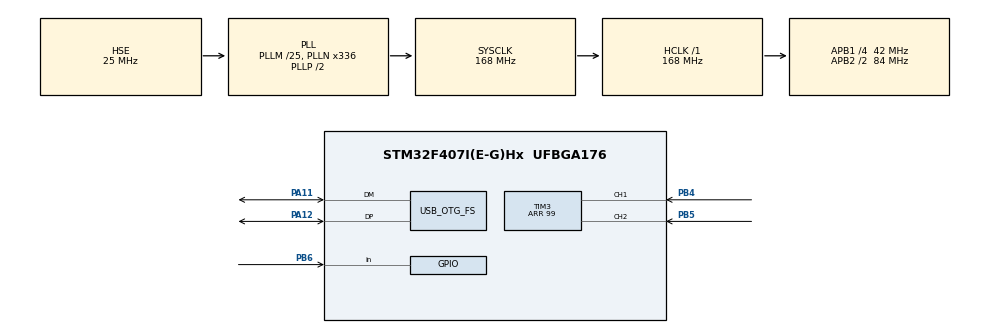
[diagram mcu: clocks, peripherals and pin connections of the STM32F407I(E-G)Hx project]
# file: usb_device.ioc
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Mcu.Family=STM32F4
Mcu.Name=STM32F407I(E-G)Hx
Mcu.Package=UFBGA176
NVIC.OTG_FS_IRQn=true\:0\:0\:false\:false\:true\:false\:true\:true
NVIC.PriorityGroup=NVIC_PRIORITYGROUP_0
NVIC.TIM3_IRQn=true\:0\:0\:false\:false\:true\:true\:true\:true
PA11.Mode=Device_Only
PA11.Signal=USB_OTG_FS_DM
PA12.Mode=Device_Only
PA12.Signal=USB_OTG_FS_DP
PA13.Mode=Serial_Wire
PA13.Signal=SYS_JTMS-SWDIO
PA14.Mode=Serial_Wire
PA14.Signal=SYS_JTCK-SWCLK
PB4.Signal=S_TIM3_CH1
PB5.Signal=S_TIM3_CH2
PB6.GPIO_PuPd=GPIO_PULLDOWN
PB6.Signal=GPIO_Input
PH0-OSC_IN.Mode=HSE-External-Oscillator
PH0-OSC_IN.Signal=RCC_OSC_IN
PH1-OSC_OUT.Mode=HSE-External-Oscillator
PH1-OSC_OUT.Signal=RCC_OSC_OUT
ProjectManager.HeapSize=0x200
ProjectManager.StackSize=0x400
ProjectManager.TargetToolchain=STM32CubeIDE
RCC.48MHZClocksFreq_Value=48000000
RCC.AHBFreq_Value=168000000
RCC.APB1CLKDivider=RCC_HCLK_DIV4
RCC.APB1Freq_Value=42000000
RCC.APB1TimFreq_Value=84000000
RCC.APB2CLKDivider=RCC_HCLK_DIV2
RCC.APB2Freq_Value=84000000
RCC.APB2TimFreq_Value=168000000
RCC.CortexFreq_Value=168000000
RCC.FLatency-AdvancedSettings=FLASH_LATENCY_5
RCC.HCLKFreq_Value=168000000
RCC.HSE_VALUE=25000000
RCC.HSI_VALUE=16000000
RCC.LSE_VALUE=32768
RCC.PLLM=25
RCC.PLLN=336
RCC.PLLQ=7
RCC.PWR_Regulator_Voltage_Scale-AdvancedSettings=PWR_REGULATOR_VOLTAGE_SCALE1
RCC.SYSCLKFreq_VALUE=168000000
RCC.SYSCLKSource=RCC_SYSCLKSOURCE_PLLCLK
RCC.VCOOutputFreq_Value=336000000
SH.S_TIM3_CH1.0=TIM3_CH1,Encoder_Interface
SH.S_TIM3_CH2.0=TIM3_CH2,Encoder_Interface
STMicroelectronics.X-CUBE-DISPLAY.2.2.0_IsPackSelfContextualization=true
TIM3.Period=99
USB_DEVICE.CLASS_NAME_FS=HID
USB_DEVICE.VirtualMode-HID_FS=Hid
USB_DEVICE.VirtualModeFS=Hid_FS
USB_OTG_FS.VirtualMode=Device_Only
VP_USB_DEVICE_VS_USB_DEVICE_HID_FS.Mode=HID_FS
board=STM3240G-EVAL

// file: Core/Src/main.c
/* USER CODE BEGIN Header */
/**
  ******************************************************************************
  * @file           : main.c
  * @brief          : Main program body
  ******************************************************************************
  * @attention
  *
  * Copyright (c) 2022 STMicroelectronics.
  * All rights reserved.
  *
  * This software is licensed under terms that can be found in the LICENSE file
  * in the root directory of this software component.
  * If no LICENSE file comes with this software, it is provided AS-IS.
  *
  ******************************************************************************
  */
/* USER CODE END Header */
#include "main.h"
#include "usb_device.h"

/* USER CODE BEGIN Includes */
#include "usbd_hid.h"
extern USBD_HandleTypeDef hUsbDeviceFS;
/* USER CODE END Includes */

TIM_HandleTypeDef htim3;

/* USER CODE BEGIN PV */
extern USBD_HandleTypeDef hUsbDeviceFS;

typedef struct
{
	uint8_t MODIFIER;
	uint8_t RESERVED;
	uint8_t KEYCODE1;
	uint8_t KEYCODE2;
	uint8_t KEYCODE3;
	uint8_t KEYCODE4;
	uint8_t KEYCODE5;
	uint8_t KEYCODE6;
}subKeyBoard;

subKeyBoard keyBoardHIDsub = {0,0,0,0,0,0,0,0};
/* USER CODE END PV */

void SystemClock_Config(void);
static void MX_GPIO_Init(void);
static void MX_TIM3_Init(void);

/* USER CODE BEGIN 0 */
//int rot_cnt = 0;
//uint8_t rot_new_state = 0;
//uint8_t rot_old_state = 0;
//
//uint16_t rot_a_pin = 4;
//uint16_t rot_b_pin = 5;
//
//uint8_t rot_get_state() {
//	return (uint8_t)((HAL_GPIO_ReadPin(GPIOB, rot_b_pin) << 1)
//                | (HAL_GPIO_ReadPin(GPIOB, rot_a_pin)));
//}
//
//// External interrupts from rotary encoder
//void HAL_GPIO_EXTI_Callback(uint16_t GPIO_Pin) {
//	if (GPIO_Pin == rot_a_pin || GPIO_Pin == rot_b_pin) {
//
//		rot_new_state = rot_get_state();
//
//		// DBG("%d:%d", rot_old_state, rot_new_state);
//
//		// Check transition
//		if (rot_old_state == 3 && rot_new_state == 2) {        // 3 -> 2 transition
//			rot_cnt++;
//		} else if (rot_old_state == 2 && rot_new_state == 0) { // 2 -> 0 transition
//			rot_cnt++;
//		} else if (rot_old_state == 0 && rot_new_state == 1) { // 0 -> 1 transition
//			rot_cnt++;
//		} else if (rot_old_state == 1 && rot_new_state == 3) { // 1 -> 3 transition
//			rot_cnt++;
//		} else if (rot_old_state == 3 && rot_new_state == 1) { // 3 -> 1 transition
//			rot_cnt--;
//		} else if (rot_old_state == 1 && rot_new_state == 0) { // 1 -> 0 transition
//			rot_cnt--;
//		} else if (rot_old_state == 0 && rot_new_state == 2) { // 0 -> 2 transition
//			rot_cnt--;
//		} else if (rot_old_state == 2 && rot_new_state == 3) { // 2 -> 3 transition
//			rot_cnt--;
//		}
//
//		rot_old_state = rot_new_state;
//	}
//}
/* USER CODE END 0 */

int main(void)
{

  /* MCU Configuration--------------------------------------------------------*/

  /* Reset of all peripherals, Initializes the Flash interface and the Systick. */
  HAL_Init();

  /* Configure the system clock */
  SystemClock_Config();

  /* Initialize all configured peripherals */
  MX_GPIO_Init();
  MX_USB_DEVICE_Init();
  MX_TIM3_Init();
  /* USER CODE BEGIN 2 */
  HAL_TIM_Encoder_Start_IT(&htim3, TIM_CHANNEL_ALL);
  uint32_t last_print = 0, now = 0;
  uint32_t rot_count = 0;
  now = HAL_GetTick();
  TIM3->CNT = 30000;
  /* USER CODE END 2 */

  /* Infinite loop */
  while (1)
  {

    /* USER CODE BEGIN 3 */
	  now = HAL_GetTick();
	  //if (now - last_print >= 100) {
		  // DBG("Encoder counter = %lu", TIM3->CNT);
		  if (rot_count != TIM3->CNT) {
			  	  if (rot_count > TIM3->CNT) {
			  		  keyBoardHIDsub.KEYCODE1=0x04;  // Press A key
					  keyBoardHIDsub.KEYCODE2=0x05;  // Press B key
					  keyBoardHIDsub.KEYCODE3=0x06;  // Press C key
					  keyBoardHIDsub.KEYCODE4=0x80;	 // Volume up - only works on linux
			  	  } else {
			  		  keyBoardHIDsub.KEYCODE1=0x07;  // Press A key
					  keyBoardHIDsub.KEYCODE2=0x08;  // Press B key
					  keyBoardHIDsub.KEYCODE3=0x09;  // Press C key
					  keyBoardHIDsub.KEYCODE4=0x81;	 // Volume down - only works on linux
			  	  }
			  	  USBD_HID_SendReport(&hUsbDeviceFS,&keyBoardHIDsub,sizeof(keyBoardHIDsub));
			  	  HAL_Delay(20); 		       // Press all key for 50 milliseconds
			  	  //keyBoardHIDsub.MODIFIER=0x00;  // To release shift key
			  	  keyBoardHIDsub.KEYCODE1=0x00;  // Release A key
			  	  keyBoardHIDsub.KEYCODE2=0x00;  // Release B key
			  	  keyBoardHIDsub.KEYCODE3=0x00;  // Release C key
			  	  keyBoardHIDsub.KEYCODE4=0x00;	 // Clear buffer from volume up
			  	  USBD_HID_SendReport(&hUsbDeviceFS,&keyBoardHIDsub,sizeof(keyBoardHIDsub));
			  	  rot_count = TIM3->CNT;
		  }
		  last_print = now;
	  //}
	  if (HAL_GPIO_ReadPin(GPIOB, GPIO_PIN_6) == 0){
		  	  //keyBoardHIDsub.MODIFIER=0x02;  // To press shift key
		  	  keyBoardHIDsub.KEYCODE1=0x04;  // Press A key
		  	  keyBoardHIDsub.KEYCODE2=0x05;  // Press B key
		  	  keyBoardHIDsub.KEYCODE3=0x06;  // Press C key
		  	  keyBoardHIDsub.KEYCODE4=0x80;	 // Volume up - only works on linux
		  	  USBD_HID_SendReport(&hUsbDeviceFS,&keyBoardHIDsub,sizeof(keyBoardHIDsub));
		  	  HAL_Delay(50); 		       // Press all key for 50 milliseconds
		  	  //keyBoardHIDsub.MODIFIER=0x00;  // To release shift key
		  	  keyBoardHIDsub.KEYCODE1=0x00;  // Release A key
		  	  keyBoardHIDsub.KEYCODE2=0x00;  // Release B key
		  	  keyBoardHIDsub.KEYCODE3=0x00;  // Release C key
		  	  keyBoardHIDsub.KEYCODE4=0x00;	 // Clear buffer from volume up
		  	  USBD_HID_SendReport(&hUsbDeviceFS,&keyBoardHIDsub,sizeof(keyBoardHIDsub));
		  	  HAL_Delay(1000); 	       // Repeat this task on every 1 second
	  }
  }
  /* USER CODE END 3 */
}

void SystemClock_Config(void)
{
  RCC_OscInitTypeDef RCC_OscInitStruct = {0};
  RCC_ClkInitTypeDef RCC_ClkInitStruct = {0};

  /** Configure the main internal regulator output voltage
  */
  __HAL_RCC_PWR_CLK_ENABLE();
  __HAL_PWR_VOLTAGESCALING_CONFIG(PWR_REGULATOR_VOLTAGE_SCALE1);

  /** Initializes the RCC Oscillators according to the specified parameters
  * in the RCC_OscInitTypeDef structure.
  */
  RCC_OscInitStruct.OscillatorType = RCC_OSCILLATORTYPE_HSE;
  RCC_OscInitStruct.HSEState = RCC_HSE_ON;
  RCC_OscInitStruct.PLL.PLLState = RCC_PLL_ON;
  RCC_OscInitStruct.PLL.PLLSource = RCC_PLLSOURCE_HSE;
  RCC_OscInitStruct.PLL.PLLM = 25;
  RCC_OscInitStruct.PLL.PLLN = 336;
  RCC_OscInitStruct.PLL.PLLP = RCC_PLLP_DIV2;
  RCC_OscInitStruct.PLL.PLLQ = 7;
  if (HAL_RCC_OscConfig(&RCC_OscInitStruct) != HAL_OK)
  {
    Error_Handler();
  }

  /** Initializes the CPU, AHB and APB buses clocks
  */
  RCC_ClkInitStruct.ClockType = RCC_CLOCKTYPE_HCLK|RCC_CLOCKTYPE_SYSCLK
                              |RCC_CLOCKTYPE_PCLK1|RCC_CLOCKTYPE_PCLK2;
  RCC_ClkInitStruct.SYSCLKSource = RCC_SYSCLKSOURCE_PLLCLK;
  RCC_ClkInitStruct.AHBCLKDivider = RCC_SYSCLK_DIV1;
  RCC_ClkInitStruct.APB1CLKDivider = RCC_HCLK_DIV4;
  RCC_ClkInitStruct.APB2CLKDivider = RCC_HCLK_DIV2;

  if (HAL_RCC_ClockConfig(&RCC_ClkInitStruct, FLASH_LATENCY_5) != HAL_OK)
  {
    Error_Handler();
  }
}

static void MX_TIM3_Init(void)
{

  TIM_Encoder_InitTypeDef sConfig = {0};
  TIM_MasterConfigTypeDef sMasterConfig = {0};

  htim3.Instance = TIM3;
  htim3.Init.Prescaler = 0;
  htim3.Init.CounterMode = TIM_COUNTERMODE_UP;
  htim3.Init.Period = 99;
  htim3.Init.ClockDivision = TIM_CLOCKDIVISION_DIV1;
  htim3.Init.AutoReloadPreload = TIM_AUTORELOAD_PRELOAD_DISABLE;
  sConfig.EncoderMode = TIM_ENCODERMODE_TI1;
  sConfig.IC1Polarity = TIM_ICPOLARITY_RISING;
  sConfig.IC1Selection = TIM_ICSELECTION_DIRECTTI;
  sConfig.IC1Prescaler = TIM_ICPSC_DIV1;
  sConfig.IC1Filter = 0;
  sConfig.IC2Polarity = TIM_ICPOLARITY_RISING;
  sConfig.IC2Selection = TIM_ICSELECTION_DIRECTTI;
  sConfig.IC2Prescaler = TIM_ICPSC_DIV1;
  sConfig.IC2Filter = 0;
  if (HAL_TIM_Encoder_Init(&htim3, &sConfig) != HAL_OK)
  {
    Error_Handler();
  }
  sMasterConfig.MasterOutputTrigger = TIM_TRGO_RESET;
  sMasterConfig.MasterSlaveMode = TIM_MASTERSLAVEMODE_DISABLE;
  if (HAL_TIMEx_MasterConfigSynchronization(&htim3, &sMasterConfig) != HAL_OK)
  {
    Error_Handler();
  }

}

static void MX_GPIO_Init(void)
{
  GPIO_InitTypeDef GPIO_InitStruct = {0};

  /* GPIO Ports Clock Enable */
  __HAL_RCC_GPIOB_CLK_ENABLE();
  __HAL_RCC_GPIOA_CLK_ENABLE();
  __HAL_RCC_GPIOH_CLK_ENABLE();

  /*Configure GPIO pin : PB6 */
  GPIO_InitStruct.Pin = GPIO_PIN_6;
  GPIO_InitStruct.Mode = GPIO_MODE_INPUT;
  GPIO_InitStruct.Pull = GPIO_PULLDOWN;
  HAL_GPIO_Init(GPIOB, &GPIO_InitStruct);

}

void Error_Handler(void)
{
  __disable_irq();
  while (1)
  {
  }
}
